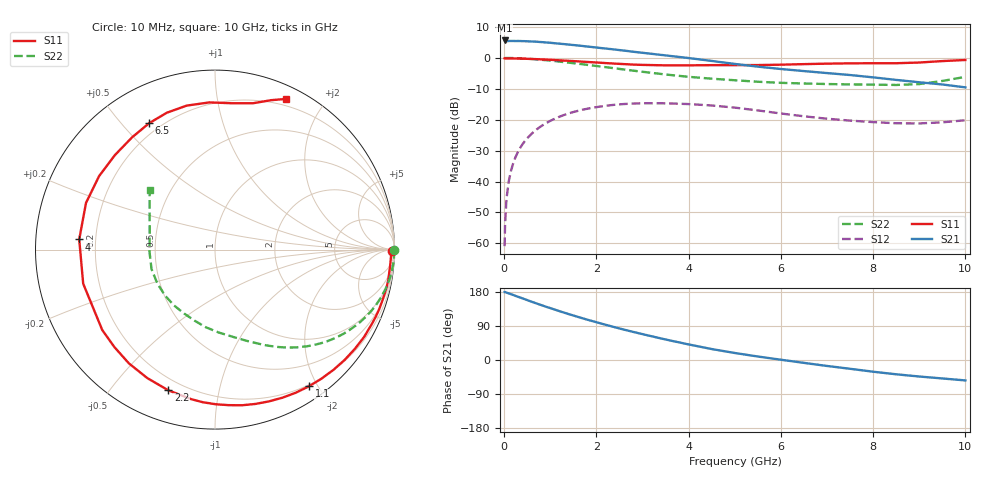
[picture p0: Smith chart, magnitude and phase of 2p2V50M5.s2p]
! (c) 2009  Infineon Technologies AG, Munich
! Infineon Technologies  Discrete & RF Semiconductors
! BFP420
! VCE =  2.5 V,  IC =  0.5 mA
! Common Emitter S-Parameters:  Nov 2009
# GHz  S  MA  R  50
!  f  S11  S21  S12  S22
! GHz  MAG  ANG  MAG  ANG  MAG  ANG  MAG  ANG
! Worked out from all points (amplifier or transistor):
!   46 points, 10 MHz to 10 GHz, reference 50 ohm
!   highest |S21| = 5.7 dB at 10 MHz (marker M1)
!   |S21| within 3 dB of that: start of sweep to 2.435 GHz
!   unconditionally stable (mu >= 1): 4.431 GHz to end of sweep
!   at 300 MHz: K = 0.02, MSG = 17.9 dB, |S12| = -30.4 dB
!   at 1.7 GHz: K = 0.27, MSG = 10.3 dB, |S12| = -16.8 dB
!   at 10 GHz: K = 1.58, MAG = 0.9 dB, |S12| = -20.2 dB
!   lowest NFmin = 0.68 dB at 900 MHz
!   S11 on the Smith chart (normalised r, x): 10 MHz: open; 1.1 GHz: 0.18, -1.89; 2.2 GHz: 0.14, -0.71; 4 GHz: 0.14, +0.04; 6.5 GHz: 0.16, +0.60; 10 GHz: 0.13, +1.56
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0.01  0.9859 -0.5  1.918 179.4  0.0009 95.7  0.9991 -0.1
0.02  0.9811 -1.0  1.857 179.5  0.002 89.4  0.9983 -0.5
0.05  0.9813 -2.4  1.862 177.9  0.0052 88.2  0.9983 -1.4
0.1  0.9798 -5.1  1.882 175.8  0.0101 87.5  0.998 -2.8
0.15  0.9794 -7.5  1.883 173.6  0.0151 85.5  0.9964 -4.2
0.25  0.9787 -12.5  1.876 169.0  0.0252 82.4  0.992 -7.0
0.4  0.9731 -20.1  1.871 162.5  0.0403 77.5  0.9811 -11.1
0.6  0.9629 -30.3  1.845 153.6  0.0598 71.0  0.9606 -16.5
0.9  0.9403 -45.5  1.783 140.9  0.0873 61.3  0.9198 -24.0
1.1  0.9241 -55.5  1.729 132.9  0.104 55.1  0.8886 -28.7
1.4  0.8974 -70.5  1.646 121.1  0.1266 45.9  0.8394 -35.3
1.7  0.8699 -85.0  1.562 110.1  0.1453 37.2  0.7893 -41.3
2.2  0.8259 -108.4  1.42 93.0  0.1682 23.6  0.7093 -50.2
2.8  0.7805 -135.9  1.259 74.1  0.1828 8.4  0.6222 -59.8
3.5  0.7585 -165.5  1.099 54.1  0.1844 -7.1  0.5396 -70.6
4  0.7586 175.7  0.996 41.1  0.1793 -16.3  0.4948 -78.7
4.5  0.7643 160.1  0.894 28.9  0.1701 -24.8  0.4615 -87.7
5.5  0.767 136.6  0.723 9.2  0.1415 -37.3  0.4118 -106.1
6.5  0.7942 117.5  0.613 -7.6  0.1137 -41.9  0.386 -126.2
7  0.8084 109.4  0.569 -15.7  0.1039 -41.4  0.3783 -137.2
8.5  0.8211 83.1  0.441 -37.7  0.0877 -34.1  0.3653 -178.5
10  0.9267 64.9  0.334 -53.9  0.0982 -22.3  0.4943 137.4
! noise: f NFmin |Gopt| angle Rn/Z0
0.9  0.68  0.78  35  0.65
1.8  1.42  0.6  75  0.5
2.4  1.57  0.58  98  0.37
3  2.1  0.58  128  0.24
4  2.49  0.57  177  0.09
